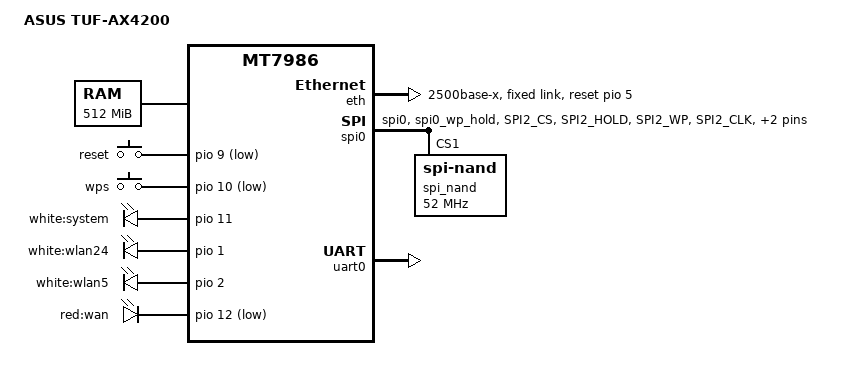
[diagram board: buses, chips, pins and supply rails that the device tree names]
// SPDX-License-Identifier: GPL-2.0
// Hardware derived from lede DTS mt7986a-asus-tuf-ax4200.dts (mt7531 switch),
// converted to uboot DTS idiom. ASUS TUF-AX4200 uses 256MiB SPI-NAND with a
// 4096k bootloader partition and UBI_DEV@0x400000.

/dts-v1/;
#include "mt7986.dtsi"
#include <dt-bindings/gpio/gpio.h>
#include <dt-bindings/input/linux-event-codes.h>

/ {
	#address-cells = <1>;
	#size-cells = <1>;
	model = "ASUS TUF-AX4200";
	compatible = "mediatek,mt7986", "mediatek,mt7986-rfb";

	chosen {
		stdout-path = &uart0;
		tick-timer = &timer0;
	};

	mtd-layout {
		layout@0 {
			label = "default";
			mtdids = "nmbm0=nmbm0";
			mtdparts = "nmbm0:4096k(bootloader),258048k(ubi)";
		};

		layout@1 {
			label = "lede";
			mtdids = "nmbm0=nmbm0";
			mtdparts = "nmbm0:4096k(bootloader),258048k(ubi)";
		};

		layout@2 {
			label = "256m";
			mtdids = "nmbm0=nmbm0";
			mtdparts = "nmbm0:4096k(bootloader),241664k(ubi)";
		};

		layout@3 {
			label = "512m";
			mtdids = "nmbm0=nmbm0";
			mtdparts = "nmbm0:4096k(bootloader),487424k(ubi)";
		};

		layout@4 {
			label = "expand(auto)";
			mtdids = "nmbm0=nmbm0";
			mtdparts = "nmbm0:4096k(bootloader),-(ubi)";
		};
	};

	config {
		bootcmd = "mtkboardboot";
		blink_led = "white:system";
		system_led = "white:system";
	};

	memory@40000000 {
		device_type = "memory";
		reg = <0x40000000 0x20000000>;
	};

	gpio-keys {
		compatible = "gpio-keys";

		button-reset {
			label = "reset";
			linux,code = <KEY_RESTART>;
			gpios = <&pio 9 GPIO_ACTIVE_LOW>;
		};

		button-mesh {
			label = "wps";
			linux,code = <KEY_WPS_BUTTON>;
			gpios = <&pio 10 GPIO_ACTIVE_LOW>;
		};
	};

	gpio-leds {
		compatible = "gpio-leds";

		led_system: led-0 {
			label = "white:system";
			gpios = <&pio 11 GPIO_ACTIVE_HIGH>;
		};

		led-1 {
			label = "white:wlan24";
			gpios = <&pio 1 GPIO_ACTIVE_HIGH>;
		};

		led-2 {
			label = "white:wlan5";
			gpios = <&pio 2 GPIO_ACTIVE_HIGH>;
		};

		led-3 {
			label = "red:wan";
			gpios = <&pio 12 GPIO_ACTIVE_LOW>;
		};
	};

	bl2_verify {
		bl2_compatible = "spim-nand";
	};
};

&eth {
	status = "okay";
	mediatek,gmac-id = <0>;
	phy-mode = "2500base-x";
	mediatek,switch = "auto";
	reset-gpios = <&pio 5 GPIO_ACTIVE_HIGH>;

	fixed-link {
		speed = <2500>;
		full-duplex;
	};
};

&pio {
	spi_flash_pins: spi0-pins-func-1 {
		mux {
			function = "flash";
			groups = "spi0", "spi0_wp_hold";
		};

		conf-pu {
			pins = "SPI2_CS", "SPI2_HOLD", "SPI2_WP";
			drive-strength = <MTK_DRIVE_4mA>;
			bias-pull-up = <MTK_PUPD_SET_R1R0_00>;
		};

		conf-pd {
			pins = "SPI2_CLK", "SPI2_MOSI", "SPI2_MISO";
			drive-strength = <MTK_DRIVE_4mA>;
			bias-pull-down = <MTK_PUPD_SET_R1R0_00>;
		};
	};
};

&spi0 {
	#address-cells = <1>;
	#size-cells = <0>;
	pinctrl-names = "default";
	pinctrl-0 = <&spi_flash_pins>;
	status = "okay";
	must_tx;
	enhance_timing;
	dma_ext;
	ipm_design;
	support_quad;
	tick_dly = <2>;
	sample_sel = <0>;

	spi_nand@0 {
		compatible = "spi-nand";
		reg = <1>;
		spi-max-frequency = <52000000>;
	};
};

&uart0 {
	status = "okay";
};

&watchdog {
	status = "disabled";
};
